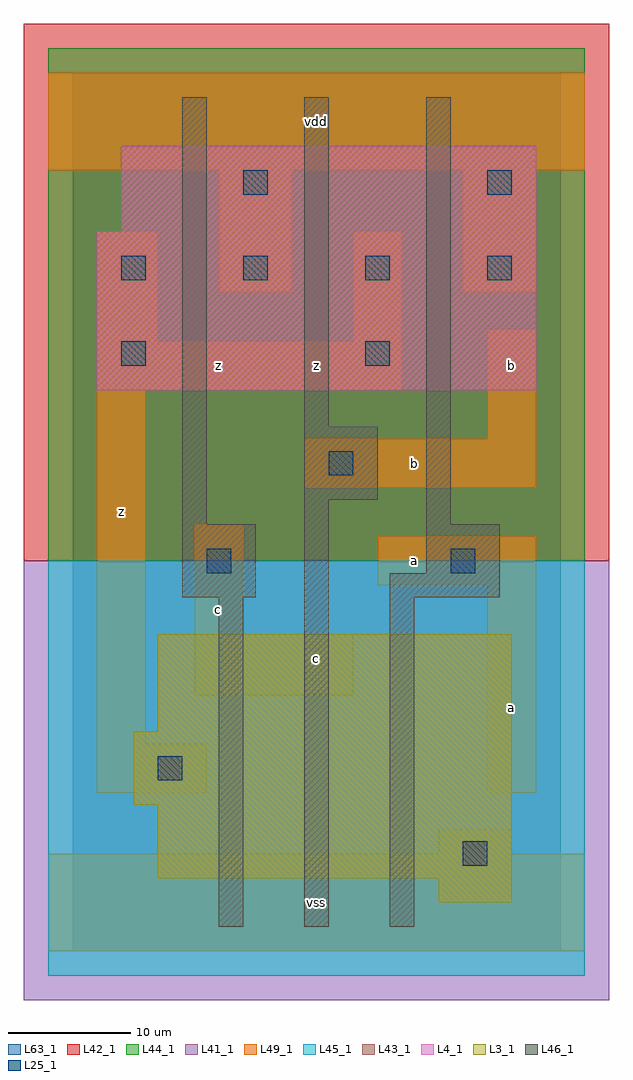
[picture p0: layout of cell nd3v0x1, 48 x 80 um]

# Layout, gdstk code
import gdstk
lib = gdstk.Library(unit=1e-6, precision=1e-09)
def R(c, l, rs):  # rectangles x0, y0, x1, y1
    for r in rs: c.add(gdstk.rectangle(r[:2], r[2:], *l))
def A(c, l, x, y, w, h, nx, ny, dx, dy):  # array of equal rectangles
    R(c, l, [(x+i*dx, y+j*dy, x+i*dx+w, y+j*dy+h) for i in range(nx) for j in range(ny)])
L3_1 = (3, 1)
L4_1 = (4, 1)
L25_1 = (25, 1)
L41_1 = (41, 1)
L42_1 = (42, 1)
L43_1 = (43, 1)
L44_1 = (44, 1)
L45_1 = (45, 1)
L46_1 = (46, 1)
L49_1 = (49, 1)
L63_1 = (63, 1)

nd3v0x1 = lib.new_cell('nd3v0x1')
R(nd3v0x1, L3_1, [(30,4,36,6), (7,6,36,12), (5,12,36,18), (7,18,36,26)])
R(nd3v0x1, L4_1, [(2,46,38,59), (4,59,38,66)])
A(nd3v0x1, L25_1, 4, 55, 2, 2, 4, 1, 10, 0)
R(nd3v0x1, L25_1, [(32,7,34,9), (7,14,9,16), (11,31,13,33), (31,31,33,33), (21,39,23,41), (4,48,6,50), (24,48,26,50), (14,62,16,64), (34,62,36,64)])
R(nd3v0x1, L41_1, [(-4,-4,44,32)])
R(nd3v0x1, L42_1, [(-4,32,44,76)])
R(nd3v0x1, L43_1, [(30,4,36,6), (7,6,36,12), (5,12,36,18), (7,18,36,26), (2,46,38,59), (4,59,38,66)])
R(nd3v0x1, L44_1, [(-2,32,42,74)])
R(nd3v0x1, L45_1, [(-2,-2,42,32)])
R(nd3v0x1, L46_1, [(12,2,14,29), (19,2,21,37), (26,2,28,29), (9,29,15,35), (26,29,35,31), (29,31,35,35), (9,35,11,70), (29,35,31,70), (19,37,25,43), (19,43,21,70)])
R(nd3v0x1, L49_1, [(-2,0,42,8), (30,8,36,10), (2,13,11,17), (34,13,38,30), (2,17,6,46), (10,21,23,26), (10,26,14,35), (25,30,38,34), (19,38,38,42), (34,42,38,51), (2,46,27,50), (2,50,7,59), (23,50,27,59), (12,54,18,64), (32,54,38,64), (-2,64,42,72)])
R(nd3v0x1, L63_1, [(0,0,40,72)])
nd3v0x1.add(gdstk.Label('z', (4,36), layer=49, texttype=1))
nd3v0x1.add(gdstk.Label('c', (12,28), layer=49, texttype=1))
nd3v0x1.add(gdstk.Label('z', (12,48), layer=49, texttype=1))
nd3v0x1.add(gdstk.Label('vss', (20,4), layer=49, texttype=1))
nd3v0x1.add(gdstk.Label('c', (20,24), layer=49, texttype=1))
nd3v0x1.add(gdstk.Label('a', (28,32), layer=49, texttype=1))
nd3v0x1.add(gdstk.Label('b', (28,40), layer=49, texttype=1))
nd3v0x1.add(gdstk.Label('z', (20,48), layer=49, texttype=1))
nd3v0x1.add(gdstk.Label('vdd', (20,68), layer=49, texttype=1))
nd3v0x1.add(gdstk.Label('a', (36,20), layer=49, texttype=1))
nd3v0x1.add(gdstk.Label('b', (36,48), layer=49, texttype=1))

lib.write_gds('nd3v0x1.gds')
